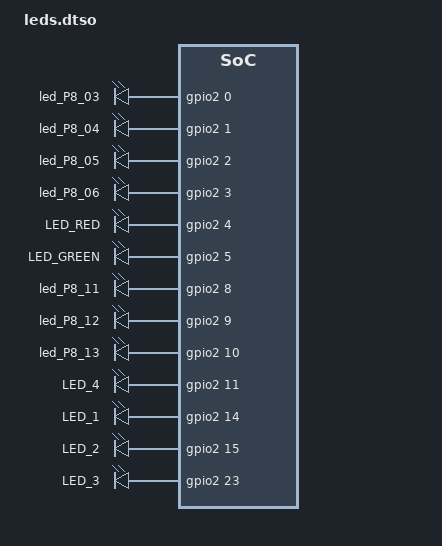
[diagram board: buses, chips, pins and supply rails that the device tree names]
// SPDX-License-Identifier: (GPL-2.0 OR MIT)
/* Copyright (c) 2023 Microchip Technology Inc */

/dts-v1/;
/plugin/;

&{/} {
	leds {
		compatible = "gpio-leds";

		led_P8_03 {
			status = "okay";
			gpios = <&gpio2 0 0>;
			default-state = "on";
		};

		led_P8_04 {
			status = "okay";
			gpios = <&gpio2 1 0>;
			default-state = "on";
		};

		led_P8_05 {
			status = "okay";
			gpios = <&gpio2 2 0>;
			default-state = "on";
		};

		led_P8_06 {
			status = "okay";
			gpios = <&gpio2 3 0>;
			linux,default-trigger = "heartbeat";
			default-state = "on";
		};

		LED_RED {
			status = "okay";
			gpios = <&gpio2 4 0>;
			default-state = "off";
		};

		LED_GREEN {
			status = "okay";
			gpios = <&gpio2 5 0>;
			default-state = "off";
		};

		led_P8_11 {
			status = "okay";
			gpios = <&gpio2 8 0>;
			default-state = "off";
		};

		led_P8_12 {
			status = "okay";
			gpios = <&gpio2 9 0>;
			default-state = "off";
		};

		led_P8_13 {
			status = "okay";
			gpios = <&gpio2 10 0>;
			default-state = "off";
		};

		LED_4 {
			status = "okay";
			gpios = <&gpio2 11 0>;
			default-state = "off";
		};

		LED_1 {
			status = "okay";
			gpios = <&gpio2 14 0>;
			default-state = "off";
		};

		LED_2 {
			status = "okay";
			gpios = <&gpio2 15 0>;
			default-state = "off";
		};

		LED_3 {
			status = "okay";
			gpios = <&gpio2 23 0>;
			default-state = "off";
		};
	};
};
